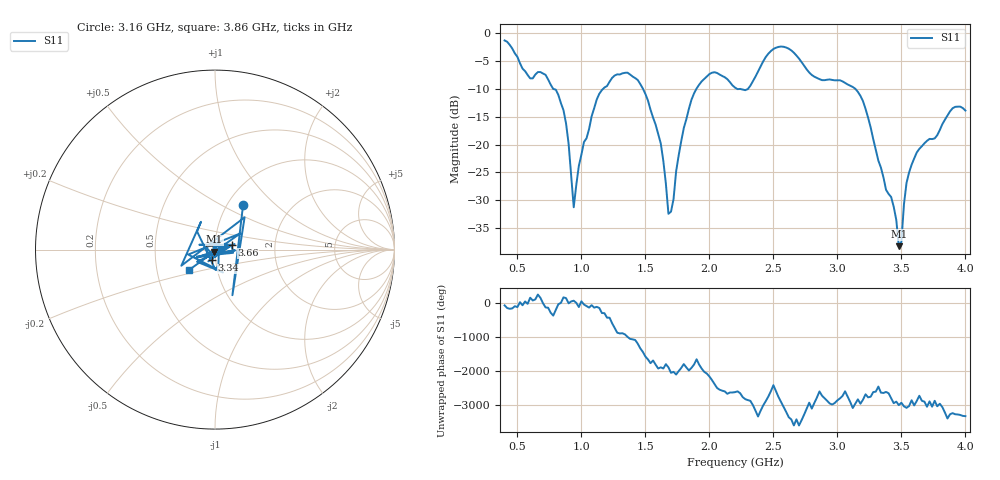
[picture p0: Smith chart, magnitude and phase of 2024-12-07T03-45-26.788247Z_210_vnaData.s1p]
!Created with skrf (http://scikit-rf.org).
# Hz S RI R 50.0
!freq ReS11 ImS11
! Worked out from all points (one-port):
!   181 points, 400 MHz to 4 GHz, reference 50 ohm
!   lowest |S11| = -38.2 dB at 3.48 GHz (marker M1), VSWR 1.02, Z = 49.6 - j1.14 ohm
!   |S11| at or under -10 dB: 778.2 MHz to 1.172 GHz (393.5 MHz wide, 40.4 % of centre); 1.48 GHz to 1.9 GHz (419.4 MHz wide, 24.8 % of centre); 3.138 GHz to end of sweep (the widest 3 of 4)
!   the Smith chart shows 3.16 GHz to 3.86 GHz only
!   S11 on the Smith chart (normalised r, x): 3.16 GHz: 1.18, +0.65; 3.34 GHz: 0.96, -0.12; 3.66 GHz: 1.20, +0.07; 3.86 GHz: 0.73, -0.17
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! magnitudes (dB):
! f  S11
! 400 MHz  -1.4
! 720 MHz  -7.5
! 860 MHz  -13.9
! 900 MHz  -19.9
! 940 MHz  -31.2
! 980 MHz  -23.8
! 1.12 GHz  -11.9
! 1.3 GHz  -7.5
! 1.52 GHz  -12.1
! 1.62 GHz  -19.8
! 1.68 GHz  -32.4
! 1.72 GHz  -29.7
! 1.76 GHz  -21.9
! 1.86 GHz  -12.0
! 1.94 GHz  -8.7
! 2.2 GHz  -9.8
! 2.3 GHz  -10.1
! 2.5 GHz  -2.9
! 2.66 GHz  -3.6
! 3.1 GHz  -9.5
! 3.16 GHz  -10.6
! 3.34 GHz  -24.1
! 3.44 GHz  -31.1
! 3.48 GHz  -38.2
! 3.56 GHz  -25.0
! 3.66 GHz  -20.3
! 3.86 GHz  -14.8
! 4 GHz  -13.9
